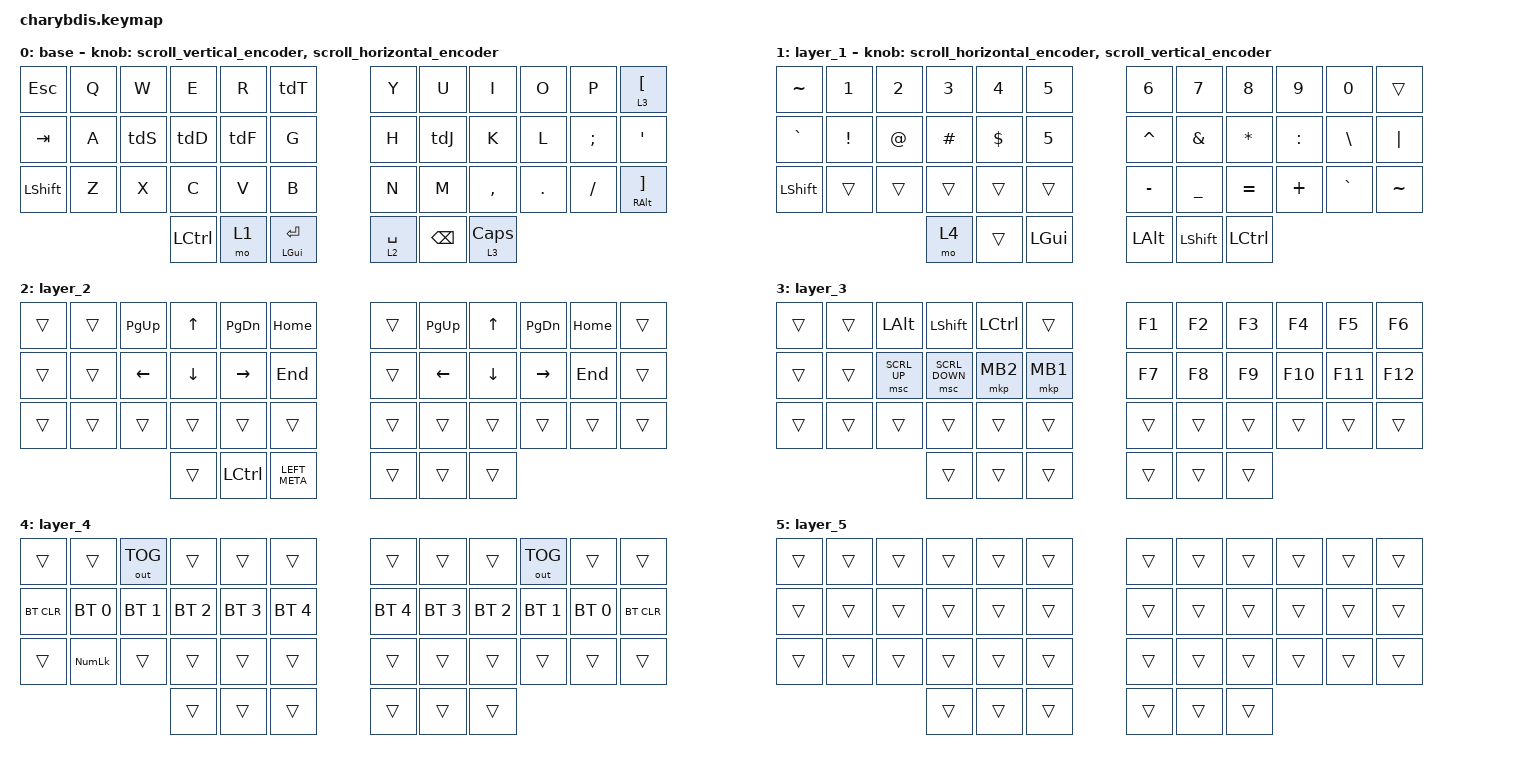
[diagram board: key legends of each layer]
#include <dt-bindings/zmk/mouse.h>
#include <input/processors.dtsi>
#include <zephyr/dt-bindings/input/input-event-codes.h>
#include <behaviors.dtsi>
#include <dt-bindings/zmk/bt.h>
#include <dt-bindings/zmk/keys.h>
#include <dt-bindings/zmk/outputs.h>
#include <dt-bindings/zmk/pointing.h>

//roll 

#define ZMK_POINTING_DEFAULT_MOVE_VAL 1000 // 600
#define ZMK_POINTING_DEFAULT_SCRL_VAL 12   // 10

&lt {
    tapping-term-ms = <200>;
    flavor = "balanced";
    quick-tap-ms = <150>;
};

&mmv_input_listener { input-processors = <&zip_xy_scaler 2 1>; };

&msc_input_listener { input-processors = <&zip_scroll_scaler 2 1>; };

&msc {
    acceleration-exponent = <0>;      // 0
    time-to-max-speed-ms = <100>;       // 300
    delay-ms = <0>;                   // 0
};

&mmv {
    time-to-max-speed-ms = <300>;
    acceleration-exponent = <1>;
    trigger-period-ms = <16>;
};

/ {
    // 上下滚动编码器行为

    scroll_vertical_encoder: scroll_vertical_encoder {
        compatible = "zmk,behavior-sensor-rotate";
        #sensor-binding-cells = <0>;
        bindings = <&msc SCRL_DOWN>, <&msc SCRL_UP>;

        tap-ms = <100>;
    };

    // 左右滚动编码器行为

    scroll_horizontal_encoder: scroll_horizontal_encoder {
        compatible = "zmk,behavior-sensor-rotate";
        #sensor-binding-cells = <0>;
        bindings = <&msc SCRL_LEFT>, <&msc SCRL_RIGHT>;

        tap-ms = <100>;
    };

    tdF: tdF {
        compatible = "zmk,behavior-tap-dance";
        label = "TDF";
        #binding-cells = <0>;
        bindings = <&kp F>, <&none>;

        tapping-term-ms = <100>;
    };

    tdJ: tdJ {
        compatible = "zmk,behavior-tap-dance";
        label = "TDJ";
        #binding-cells = <0>;
        bindings = <&kp J>;
    };

    tdT: tdT {
        compatible = "zmk,behavior-tap-dance";
        label = "TDT";
        #binding-cells = <0>;
        bindings = <&kp T>, <&kp TAB>;

        tapping-term-ms = <100>;
    };

    tdD: tdD {
        compatible = "zmk,behavior-tap-dance";
        label = "TDD";
        #binding-cells = <0>;
        bindings = <&kp D>, <&msc SCRL_DOWN>;

        tapping-term-ms = <100>;
    };

    tdS: tdS {
        compatible = "zmk,behavior-tap-dance";
        label = "TDS";
        #binding-cells = <0>;
        tapping-term-ms = <100>;
        bindings = <&kp S>, <&msc SCRL_UP>;
    };

    behaviors {
    };

    combos {
        compatible = "zmk,combos";

        ParaLeft {
            bindings = <&kp LEFT_PARENTHESIS>;
            key-positions = <4 5>;
            timeout-ms = <20>;
        };

        ParaRight {
            bindings = <&kp RIGHT_PARENTHESIS>;
            key-positions = <6 7>;
            timeout-ms = <20>;
        };

        BracketLeft {
            bindings = <&kp LEFT_BRACKET>;
            key-positions = <16 17>;
            timeout-ms = <20>;
        };

        BracketRight {
            bindings = <&kp RIGHT_BRACKET>;
            key-positions = <18 19>;
            timeout-ms = <20>;
        };

        BraceLeft {
            bindings = <&kp LEFT_BRACE>;
            key-positions = <29 28>;
            timeout-ms = <20>;
        };

        BraceRight {
            bindings = <&kp RIGHT_BRACE>;
            key-positions = <31 30>;
            timeout-ms = <20>;
        };
    };

    keymap {
        compatible = "zmk,keymap";

        base {
            bindings = <
&kp ESC         &kp Q  &kp W  &kp E             &kp R  &tdT            &kp Y        &kp U          &kp I       &kp O    &kp P     &lt 3 LEFT_BRACKET
&kp TAB         &kp A  &tdS   &tdD              &tdF   &kp G           &kp H        &tdJ           &kp K       &kp L    &kp SEMI  &kp APOS
&kp LEFT_SHIFT  &kp Z  &kp X  &kp C             &kp V  &kp B           &kp N        &kp M          &kp COMMA   &kp DOT  &kp FSLH  &mt RALT RIGHT_BRACKET
                              &kp LEFT_CONTROL  &mo 1  &mt LGUI RET    &lt 2 SPACE  &kp BACKSPACE  &lt 3 CAPS
            >;

            sensor-bindings =
                <&scroll_vertical_encoder>,
                // 编码器1：上下滚动,,,,,,,,,,,,
                <&scroll_horizontal_encoder>;

            // 编码器2：左右滚动            
            //ec11-VOL：sensor-bindings = <&inc_dec_kp PG_UP PG_DN &inc_dec_kp C_VOL_UP C_VOL_DN>;
        };

        layer_1 {
            bindings = <
&kp TILDE  &kp N1    &kp N2  &kp N3    &kp N4    &kp NUMBER_5    &kp N6     &kp N7          &kp N8     &kp N9     &kp N0         &trans
&kp GRAVE  &kp EXCL  &kp AT  &kp HASH  &kp DLLR  &kp N5          &kp CARET  &kp AMPS        &kp ASTRK  &kp COLON  &kp BACKSLASH  &kp PIPE
&kp LSHFT  &trans    &trans  &trans    &trans    &trans          &kp MINUS  &kp UNDERSCORE  &kp EQUAL  &kp PLUS   &kp GRAVE      &kp TILDE
                             &mo 4     &trans    &kp LGUI        &kp LALT   &kp LSHFT       &kp LCTRL
            >;

            sensor-bindings =
                <&scroll_horizontal_encoder>,
                // 编码器1：左右滚动    ,,,,,,,,,,,,
                <&scroll_vertical_encoder>;

            // 编码器2：上下滚动
        };

        layer_2 {
            bindings = <
&trans  &trans  &kp PG_UP       &kp UP_ARROW    &kp PG_DN        &kp HOME         &trans  &kp PG_UP       &kp UP_ARROW    &kp PG_DN        &kp HOME  &trans
&trans  &trans  &kp LEFT_ARROW  &kp DOWN_ARROW  &kp RIGHT_ARROW  &kp END          &trans  &kp LEFT_ARROW  &kp DOWN_ARROW  &kp RIGHT_ARROW  &kp END   &trans
&trans  &trans  &trans          &trans          &trans           &trans           &trans  &trans          &trans          &trans           &trans    &trans
                                &trans          &kp LCTRL        &kp LEFT_META    &trans  &trans          &trans
            >;
        };

        layer_3 {
            bindings = <
&trans  &trans  &kp LALT      &kp LSHIFT      &kp LCTRL  &trans      &kp F1  &kp F2  &kp F3  &kp F4   &kp F5   &kp F6
&trans  &trans  &msc SCRL_UP  &msc SCRL_DOWN  &mkp MB2   &mkp MB1    &kp F7  &kp F8  &kp F9  &kp F10  &kp F11  &kp F12
&trans  &trans  &trans        &trans          &trans     &trans      &trans  &trans  &trans  &trans   &trans   &trans
                              &trans          &trans     &trans      &trans  &trans  &trans
            >;
        };

        layer_4 {
            bindings = <
&trans      &trans        &out OUT_TOG  &trans        &trans        &trans          &trans        &trans        &trans        &out OUT_TOG  &trans        &trans
&bt BT_CLR  &bt BT_SEL 0  &bt BT_SEL 1  &bt BT_SEL 2  &bt BT_SEL 3  &bt BT_SEL 4    &bt BT_SEL 4  &bt BT_SEL 3  &bt BT_SEL 2  &bt BT_SEL 1  &bt BT_SEL 0  &bt BT_CLR
&trans      &kp KP_NUM    &trans        &trans        &trans        &trans          &trans        &trans        &trans        &trans        &trans        &trans
                                        &trans        &trans        &trans          &trans        &trans        &trans
            >;
        };

        layer_5 {
            bindings = <
&trans  &trans  &trans  &trans  &trans  &trans    &trans  &trans  &trans  &trans  &trans  &trans
&trans  &trans  &trans  &trans  &trans  &trans    &trans  &trans  &trans  &trans  &trans  &trans
&trans  &trans  &trans  &trans  &trans  &trans    &trans  &trans  &trans  &trans  &trans  &trans
                        &trans  &trans  &trans    &trans  &trans  &trans
            >;
        };

        /* layer_2 {
            bindings = <
&none  &none   &none    &none   &none         &none         &kp N1         &none         &none     &none  &none   &to 0
&none  &none   &none    &none   &none         &none         &none         &none          &rgb_ug RGB_BRD &rgb_ug RGB_BRI  &rgb_ug RGB_EFF   &rgb_ug RGB_TOG
&none  &none   &none    &none   &none         &none         &none         &mkp LCLK     &mkp RCLK  &none  &none   &none
&none  &none   &none    &none   &bt BT_NXT  &bt BT_CLR    &none         &none         &none     &none  &none   &none
                                   &none         &none         &none         &none         &none
                                                 &none         &none         &none
            >;
       
            
        };

       Mouse {
            bindings = <
&none        &none         &none         &none         &none      &none         &none       &none      &none         &none         &none         &none
&none        &bt BT_SEL 0  &bt BT_SEL 1  &bt BT_SEL 3  &none      &bt BT_CLR    &bt BT_CLR  &none      &bt BT_SEL 2  &bt BT_SEL 1  &bt BT_SEL 0  &none
&none        &trans        &trans        &mkp MCLK     &trans     &none         &none       &trans     &mkp MCLK     &trans        &trans        &none
&bootloader  &trans        &mkp RCLK     &mo 4         &mkp LCLK  &mo 5         &mo 5       &mkp LCLK  &mo 4         &mkp RCLK     &trans        &bootloader
                                         &mo 5         &mkp LCLK  &mkp RCLK     &mkp RCLK   &mkp LCLK
                                                       &none      &trans        &trans
            >;

            
        };

        layer_4 {
            bindings = <
&trans  &trans  &trans     &trans     &trans     &trans       &trans     &trans     &trans     &trans     &trans  &trans
&trans  &trans  &trans     &trans     &trans     &trans       &trans     &trans     &trans     &trans     &trans  &trans
&trans  &trans  &trans     &mkp MCLK  &trans     &trans       &trans     &trans     &mkp MCLK  &trans     &trans  &trans
&trans  &trans  &mkp RCLK  &trans     &mkp LCLK  &trans       &trans     &mkp LCLK  &trans     &mkp RCLK  &trans  &trans
                           &trans     &mkp LCLK  &mkp RCLK    &mkp RCLK  &mkp LCLK
                                      &trans     &trans       &trans
            >;
                
                
               
        };

        layer_5 {
            bindings = <
&trans  &trans  &trans     &trans     &trans     &trans       &trans     &trans     &trans     &trans     &trans  &trans
&trans  &trans  &trans     &trans     &trans     &trans       &trans     &trans     &trans     &trans     &trans  &trans
&trans  &trans  &trans     &mkp MCLK  &trans     &trans       &trans     &trans     &mkp MCLK  &trans     &trans  &trans
&trans  &trans  &mkp RCLK  &trans     &mkp LCLK  &trans       &trans     &mkp LCLK  &trans     &mkp RCLK  &trans  &trans
                           &trans     &mkp LCLK  &mkp RCLK    &mkp RCLK  &mkp LCLK
                                      &trans     &trans       &trans
            >;
                
                
        };*/
    };
};
